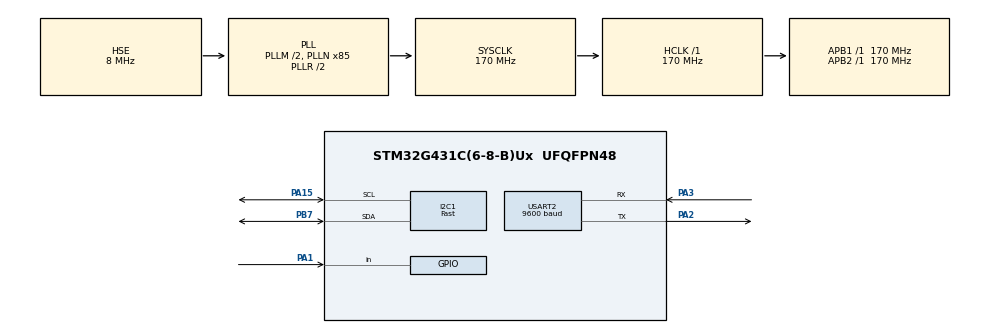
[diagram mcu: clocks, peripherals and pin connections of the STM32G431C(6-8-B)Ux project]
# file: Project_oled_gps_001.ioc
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I2C1.I2C_Speed_Mode=I2C_Fast
I2C1.Timing=0x10802D9B
Mcu.Family=STM32G4
Mcu.Name=STM32G431C(6-8-B)Ux
Mcu.Package=UFQFPN48
NVIC.PriorityGroup=NVIC_PRIORITYGROUP_4
NVIC.USART2_IRQn=true\:0\:0\:false\:false\:true\:true\:true\:true
PA1.Signal=GPIO_Input
PA13.Mode=Serial_Wire
PA13.Signal=SYS_JTMS-SWDIO
PA14.Mode=Serial_Wire
PA14.Signal=SYS_JTCK-SWCLK
PA15.Mode=I2C
PA15.Signal=I2C1_SCL
PA2.Mode=Asynchronous
PA2.Signal=USART2_TX
PA3.Mode=Asynchronous
PA3.Signal=USART2_RX
PB7.Mode=I2C
PB7.Signal=I2C1_SDA
PF0-OSC_IN.Mode=HSE-External-Oscillator
PF0-OSC_IN.Signal=RCC_OSC_IN
PF1-OSC_OUT.Mode=HSE-External-Oscillator
PF1-OSC_OUT.Signal=RCC_OSC_OUT
ProjectManager.HeapSize=0x200
ProjectManager.StackSize=0x400
ProjectManager.TargetToolchain=MDK-ARM V5.32
RCC.ADC12Freq_Value=170000000
RCC.AHBFreq_Value=170000000
RCC.APB1Freq_Value=170000000
RCC.APB1TimFreq_Value=170000000
RCC.APB2Freq_Value=170000000
RCC.APB2TimFreq_Value=170000000
RCC.CortexFreq_Value=170000000
RCC.EXTERNAL_CLOCK_VALUE=12288000
RCC.HCLKFreq_Value=170000000
RCC.HSE_VALUE=8000000
RCC.HSI48_VALUE=48000000
RCC.HSI_VALUE=16000000
RCC.LSE_VALUE=32768
RCC.PLLM=RCC_PLLM_DIV2
RCC.PLLN=85
RCC.PLLSourceVirtual=RCC_PLLSOURCE_HSE
RCC.SYSCLKFreq_VALUE=170000000
RCC.SYSCLKSource=RCC_SYSCLKSOURCE_PLLCLK
RCC.USBFreq_Value=170000000
RCC.VCOOutputFreq_Value=340000000
TIM1.PeriodNoDither=65535-1
TIM1.Prescaler=170-1
USART2.BaudRate=9600
USART2.VirtualMode-Asynchronous=VM_ASYNC
VP_SYS_VS_DBSignals.Mode=DisableDeadBatterySignals
VP_TIM1_VS_ClockSourceINT.Mode=Internal
board=custom

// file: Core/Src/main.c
/* USER CODE BEGIN Header */
/**
  ******************************************************************************
  * @file           : main.c
  * @brief          : Main program body
  ******************************************************************************
  * @attention
  *
  * Copyright (c) 2024 STMicroelectronics.
  * All rights reserved.
  *
  * This software is licensed under terms that can be found in the LICENSE file
  * in the root directory of this software component.
  * If no LICENSE file comes with this software, it is provided AS-IS.
  *
  ******************************************************************************
  */
/* USER CODE END Header */
#include "main.h"
#include "i2c.h"
#include "tim.h"
#include "usart.h"
#include "gpio.h"

/* USER CODE BEGIN Includes */
#include "fonts.h"
#include "ssd1306.h"
#include "test.h"
#include "string.h"
#include "stdio.h"
/* USER CODE END Includes */

/* USER CODE BEGIN PD */
#define BUFFER_SIZE 256
/* USER CODE END PD */

/* USER CODE BEGIN PV */
uint8_t temp;
typedef struct{
	uint8_t data[100];
	int length;
	uint8_t isComplete;
	uint8_t dataError;
	char utc_time[20];
	uint8_t validFlag;
	char latitude[20];
	char n_s;
	char longitude[20];
	char e_w;
	uint8_t isParseData;
}DataFrame_t;

DataFrame_t reDataFrame;

uint8_t uart_rx_buffer[BUFFER_SIZE];
volatile uint16_t uart_rx_index = 0;
volatile uint8_t uart_rx_flag = 0;

float latitude = 0;
float longitude = 0;
float time = 0;
uint8_t hour, minute;
char display[50];

/* USER CODE END PV */

void SystemClock_Config(void);
/* USER CODE BEGIN PFP */
void receData_Parse(void);
void data_display(void);
void floatToString(float num, char *str) ;

/* USER CODE END PFP */

int main(void)
{

  /* MCU Configuration--------------------------------------------------------*/

  /* Reset of all peripherals, Initializes the Flash interface and the Systick. */
  HAL_Init();

  /* Configure the system clock */
  SystemClock_Config();

  /* Initialize all configured peripherals */
  MX_GPIO_Init();
  MX_I2C1_Init();
  MX_USART2_UART_Init();
  MX_TIM1_Init();
  /* USER CODE BEGIN 2 */
	 __HAL_UART_ENABLE_IT(&huart2,UART_IT_RXNE);
	HAL_UART_Receive_IT(&huart2, &temp, 1);
	 HAL_TIM_Base_Start(&htim1);
	SSD1306_Init();
	SSD1306_Clear();

  /* USER CODE END 2 */

  /* Infinite loop */
  while (1)
  {
		SSD1306_DrawRectangle(0,0,128,15,1);
		SSD1306_DrawRectangle(0,16,128,48,1);
		SSD1306_GotoXY(50,5);
		SSD1306_Puts("GPS",&Font_7x10,1);
		receData_Parse();
		if(reDataFrame.dataError == 1&& reDataFrame.isParseData == 0)
		{
			SSD1306_GotoXY(2,27);
			SSD1306_Puts("ERROR",&Font_7x10,1);
		}
		else
		{
			data_display();
			floatToString(latitude, display);
			SSD1306_GotoXY(2,25);
			SSD1306_Puts(display,&Font_7x10,1);
			floatToString(longitude, display);
			SSD1306_GotoXY(2,36);
			SSD1306_Puts(display,&Font_7x10,1);
			SSD1306_GotoXY(2,47);
			sprintf(display, "Time %d : %02d", hour, minute);
			SSD1306_Puts(display,&Font_7x10,1);
		}
		SSD1306_UpdateScreen(); // update screen
		delay_ms(800);
  }
}

void SystemClock_Config(void)
{
  RCC_OscInitTypeDef RCC_OscInitStruct = {0};
  RCC_ClkInitTypeDef RCC_ClkInitStruct = {0};

  /** Configure the main internal regulator output voltage
  */
  HAL_PWREx_ControlVoltageScaling(PWR_REGULATOR_VOLTAGE_SCALE1_BOOST);

  /** Initializes the RCC Oscillators according to the specified parameters
  * in the RCC_OscInitTypeDef structure.
  */
  RCC_OscInitStruct.OscillatorType = RCC_OSCILLATORTYPE_HSE;
  RCC_OscInitStruct.HSEState = RCC_HSE_ON;
  RCC_OscInitStruct.PLL.PLLState = RCC_PLL_ON;
  RCC_OscInitStruct.PLL.PLLSource = RCC_PLLSOURCE_HSE;
  RCC_OscInitStruct.PLL.PLLM = RCC_PLLM_DIV2;
  RCC_OscInitStruct.PLL.PLLN = 85;
  RCC_OscInitStruct.PLL.PLLP = RCC_PLLP_DIV2;
  RCC_OscInitStruct.PLL.PLLQ = RCC_PLLQ_DIV2;
  RCC_OscInitStruct.PLL.PLLR = RCC_PLLR_DIV2;
  if (HAL_RCC_OscConfig(&RCC_OscInitStruct) != HAL_OK)
  {
    Error_Handler();
  }

  /** Initializes the CPU, AHB and APB buses clocks
  */
  RCC_ClkInitStruct.ClockType = RCC_CLOCKTYPE_HCLK|RCC_CLOCKTYPE_SYSCLK
                              |RCC_CLOCKTYPE_PCLK1|RCC_CLOCKTYPE_PCLK2;
  RCC_ClkInitStruct.SYSCLKSource = RCC_SYSCLKSOURCE_PLLCLK;
  RCC_ClkInitStruct.AHBCLKDivider = RCC_SYSCLK_DIV1;
  RCC_ClkInitStruct.APB1CLKDivider = RCC_HCLK_DIV1;
  RCC_ClkInitStruct.APB2CLKDivider = RCC_HCLK_DIV1;

  if (HAL_RCC_ClockConfig(&RCC_ClkInitStruct, FLASH_LATENCY_4) != HAL_OK)
  {
    Error_Handler();
  }
}

/* USER CODE BEGIN 4 */
void HAL_UART_RxCpltCallback(UART_HandleTypeDef *huart)
{

	if(huart->Instance == USART2)
		{
			temp = USART2->RDR;
			if(temp == '$')
			{
				uart_rx_index = 0;
			}
			uart_rx_buffer[uart_rx_index ++] = temp;
			if(uart_rx_buffer[0] == '$' && uart_rx_buffer[4] == 'M' && uart_rx_buffer[5] == 'C')
			{
				if(temp == '\n')
				{
          memset(reDataFrame.data, 0, sizeof(reDataFrame.data));
          memcpy(reDataFrame.data, uart_rx_buffer, uart_rx_index);
					reDataFrame.isComplete = 1;
					uart_rx_index = 0;
					memset(uart_rx_buffer, 0, BUFFER_SIZE);
				}
			 }
			if(uart_rx_index >= BUFFER_SIZE)
			{
				uart_rx_index = BUFFER_SIZE;
			}
			HAL_UART_Receive_IT(huart, &temp, 1);
		}

}
void receData_Parse(void) {
    char *point;
    char *nextpoint;
    uint8_t tempVar = 0;

    if (reDataFrame.isComplete) {
        reDataFrame.isComplete = 0;
        reDataFrame.dataError = 0;
        reDataFrame.isParseData = 0;
        point = (char *)reDataFrame.data;

        for (tempVar = 0; tempVar < 6; tempVar++) {
            nextpoint = strstr(point, ",");
            if (nextpoint == NULL) {
                reDataFrame.dataError = 1;
                break;
            }

            nextpoint++;

            switch (tempVar) {
                case 0:

                    break;
                case 1:
                    memcpy(reDataFrame.utc_time, point, nextpoint - point - 1);
                    break;
                case 2:
                    reDataFrame.validFlag = *point;
                    break;
                case 3:
                    memcpy(reDataFrame.latitude, point, nextpoint - point - 1);
                    break;
                case 4:
                    reDataFrame.n_s = *point;
                    break;
                case 5:
                    memcpy(reDataFrame.longitude, point, nextpoint - point - 1);
                    break;
                case 6:
                    reDataFrame.e_w = *point;
                    break;
            }

            point = nextpoint;
        }

        if (reDataFrame.validFlag == 'A') {
            reDataFrame.dataError = 0;
        } else if (reDataFrame.validFlag == 'V') {
            reDataFrame.dataError = 1;
        }

        reDataFrame.isParseData = 1;
    }
}
void data_display(void)
{
	uint16_t temp1 = 0;
	uint16_t temp2 = 0;
	uint16_t temp3 =0;
	latitude = strtod(reDataFrame.latitude, NULL);
	longitude = strtod(reDataFrame.longitude, NULL);
	time = strtod(reDataFrame.utc_time, NULL);
	hour = (uint8_t)((((uint16_t)time / 10000)+7) % 24) ;
	minute = (uint8_t)(((uint16_t)time % (10000))/100);

	if((latitude - 10000.0)>=0)
	{
		temp1 = (((uint16_t)latitude / 10000) % 10) * 100 + (((uint16_t)latitude / 1000) % 10) * 10 + ((uint16_t)latitude / 100) % 10;
		latitude = latitude - (float)temp1 * 100;
		latitude = (float)temp1 + latitude / 60;
	}
	else
	{
		temp1 = (((uint16_t)latitude / 1000) % 10) * 10 +((uint16_t)latitude / 100) %10;
		latitude = latitude -(float)temp1 * 100;
		latitude = (float)temp1 + latitude/60;
	}

	if((longitude - 10000.0)>=0)
	{
		temp1 = (((uint16_t)longitude / 10000) % 10) * 100 + (((uint16_t)longitude / 1000) % 10) * 10 + ((uint16_t)longitude / 100) % 10;
		longitude = longitude - (float)temp1 * 100;
		longitude = (float)temp1 + longitude / 60;
	}
	else
	{
		temp1 = (((uint16_t)longitude / 1000) % 10) * 10 +((uint16_t)longitude / 100) %10;
		longitude = longitude -(float)temp1 * 100;
		longitude = (float)temp1 + longitude/60;
	}

}
void floatToString(float num, char *str)
{
    sprintf(str, "%.4f", num);
}
/* USER CODE END 4 */

void Error_Handler(void)
{
  __disable_irq();
  while (1)
  {
  }
}
